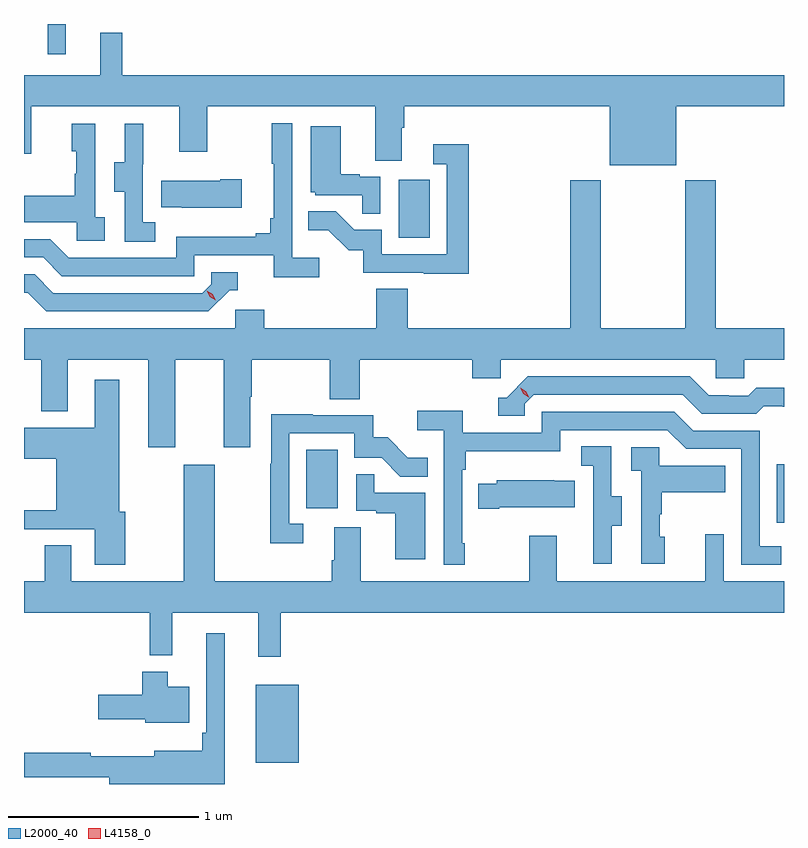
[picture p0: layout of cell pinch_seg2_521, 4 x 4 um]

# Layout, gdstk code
import gdstk
lib = gdstk.Library(unit=1e-6, precision=1e-09)
def R(c, l, rs):  # rectangles x0, y0, x1, y1
    for r in rs: c.add(gdstk.rectangle(r[:2], r[2:], *l))
def P(c, l, *ps):  # polygons
    for p in ps: c.add(gdstk.Polygon(p, *l))
L2000_40 = (2000, 40)
L4158_0 = (4158, 0)

pinch_seg2_521 = lib.new_cell('pinch_seg2_521')
R(pinch_seg2_521, L2000_40, [(952.043,597.563,952.27,597.973), (954.786,598.824,954.824,599.134), (952.31,598.902,952.474,599.209), (952.796,600.324,952.96,600.631), (950.948,601.29,951.045,601.45)])
P(pinch_seg2_521, L2000_40, [(951.341,601.405),(951.224,601.405),(951.224,601.18),(950.824,601.18),(950.824,600.768),(950.861,600.768),(950.861,601.016),(951.641,601.016),(951.641,600.777),(951.789,600.777),(951.789,601.016),(952.673,601.016),(952.673,600.73),(952.813,600.73),(952.813,600.904),(952.826,600.904),(952.826,601.016),(953.906,601.016),(953.906,600.707),(954.256,600.707),(954.256,601.016),(954.824,601.016),(954.824,601.18),(951.341,601.18)],
  [(952.378,600.22),(952.236,600.22),(952.236,600.928),(952.128,600.928),(952.128,600.715),(952.139,600.715),(952.139,600.427),(952.12,600.427),(952.12,600.35),(952.043,600.35),(952.043,600.331),(951.624,600.331),(951.624,600.219),(951.06,600.219),(950.961,600.318),(950.824,600.318),(950.824,600.222),(950.924,600.222),(951.023,600.123),(951.72,600.123),(951.72,600.234),(952.139,600.234),(952.139,600.118),(952.378,600.118)],
  [(951.25,600.434),(951.198,600.434),(951.198,600.925),(951.074,600.925),(951.074,600.78),(951.1,600.78),(951.1,600.662),(951.09,600.662),(951.09,600.547),(950.824,600.547),(950.824,600.407),(951.102,600.407),(951.102,600.309),(951.25,600.309)],
  [(951.514,600.407),(951.45,600.407),(951.45,600.711),(951.452,600.711),(951.452,600.925),(951.353,600.925),(951.353,600.723),(951.299,600.723),(951.299,600.568),(951.354,600.568),(951.354,600.304),(951.514,600.304)],
  [(952.698,600.645),(952.592,600.645),(952.592,600.658),(952.492,600.658),(952.492,600.913),(952.334,600.913),(952.334,600.564),(952.356,600.564),(952.356,600.549),(952.603,600.549),(952.603,600.451),(952.698,600.451)],
  [(953.165,600.817),(952.977,600.817),(952.977,600.711),(953.049,600.711),(953.049,600.237),(952.707,600.237),(952.707,600.366),(952.563,600.366),(952.465,600.464),(952.321,600.464),(952.321,600.365),(952.425,600.365),(952.532,600.258),(952.609,600.258),(952.609,600.141),(952.927,600.141),(952.927,600.136),(953.165,600.136)],
  [(951.97,600.633),(951.857,600.633),(951.857,600.625),(951.547,600.625),(951.547,600.485),(951.655,600.485),(951.655,600.482),(951.97,600.482)],
  [(952.844,600.056),(952.679,600.056),(952.679,599.848),(952.088,599.848),(952.088,599.946),(951.936,599.946),(951.936,599.848),(950.824,599.848),(950.824,599.684),(950.915,599.684),(950.915,599.411),(951.055,599.411),(951.055,599.684),(951.479,599.684),(951.479,599.223),(951.619,599.223),(951.619,599.684),(951.875,599.684),(951.875,599.223),(952.015,599.223),(952.015,599.488),(952.023,599.488),(952.023,599.684),(952.432,599.684),(952.432,599.476),(952.592,599.476),(952.592,599.684),(953.183,599.684),(953.183,599.586),(953.334,599.586),(953.334,599.684),(954.465,599.684),(954.465,599.586),(954.615,599.586),(954.615,599.684),(954.824,599.684),(954.824,599.848),(954.464,599.848),(954.464,600.628),(954.304,600.628),(954.304,599.848),(953.859,599.848),(953.859,600.628),(953.699,600.628),(953.699,599.848),(952.844,599.848)],
  [(951.906,600.048),(951.949,600.048),(951.949,600.144),(951.81,600.144),(951.81,600.081),(951.762,600.033),(950.979,600.033),(950.88,600.132),(950.824,600.132),(950.824,600.036),(950.843,600.036),(950.942,599.937),(951.795,599.937)],
  [(953.46,599.451),(953.508,599.499),(954.291,599.499),(954.39,599.4),(954.679,599.4),(954.718,599.439),(954.817,599.439),(954.817,599.436),(954.824,599.436),(954.824,599.536),(954.679,599.536),(954.637,599.493),(954.534,599.493),(954.534,599.496),(954.427,599.496),(954.328,599.595),(953.475,599.595),(953.364,599.484),(953.321,599.484),(953.321,599.388),(953.46,599.388)],
  [(951.357,598.884),(951.325,598.884),(951.325,599.578),(951.197,599.578),(951.197,599.326),(950.824,599.326),(950.824,599.162),(950.993,599.162),(950.993,598.892),(950.824,598.892),(950.824,598.791),(951.197,598.791),(951.197,598.605),(951.357,598.605)],
  [(953.143,598.717),(953.13,598.717),(953.13,599.105),(953.15,599.105),(953.15,599.201),(953.646,599.201),(953.646,599.313),(954.21,599.313),(954.309,599.214),(954.6,599.214),(954.6,598.605),(954.809,598.605),(954.809,598.701),(954.696,598.701),(954.696,599.31),(954.346,599.31),(954.247,599.409),(953.55,599.409),(953.55,599.298),(953.132,599.298),(953.132,599.414),(952.893,599.414),(952.893,599.312),(953.034,599.312),(953.034,598.605),(953.143,598.605)],
  [(952.294,598.821),(952.221,598.821),(952.221,599.295),(952.563,599.295),(952.563,599.166),(952.707,599.166),(952.805,599.068),(952.949,599.068),(952.949,599.167),(952.845,599.167),(952.738,599.274),(952.662,599.274),(952.662,599.391),(952.343,599.391),(952.343,599.396),(952.125,599.396),(952.125,599.135),(952.12,599.135),(952.12,598.716),(952.294,598.716)],
  [(953.917,598.81),(953.971,598.81),(953.971,598.965),(953.916,598.965),(953.916,599.228),(953.757,599.228),(953.757,599.125),(953.82,599.125),(953.82,598.821),(953.819,598.821),(953.819,598.608),(953.917,598.608)],
  [(954.196,598.752),(954.171,598.752),(954.171,598.871),(954.181,598.871),(954.181,598.985),(954.515,598.985),(954.515,599.125),(954.168,599.125),(954.168,599.223),(954.021,599.223),(954.021,599.099),(954.072,599.099),(954.072,598.608),(954.196,598.608)],
  [(952.175,598.352),(954.824,598.352),(954.824,598.516),(954.507,598.516),(954.507,598.765),(954.41,598.765),(954.41,598.516),(953.629,598.516),(953.629,598.756),(953.482,598.756),(953.482,598.516),(952.597,598.516),(952.597,598.802),(952.457,598.802),(952.457,598.628),(952.445,598.628),(952.445,598.516),(951.829,598.516),(951.829,599.131),(951.665,599.131),(951.665,598.516),(951.073,598.516),(951.073,598.706),(950.933,598.706),(950.933,598.516),(950.824,598.516),(950.824,598.352),(951.487,598.352),(951.487,598.127),(951.605,598.127),(951.605,598.352),(952.058,598.352),(952.058,598.119),(952.175,598.119)],
  [(952.936,598.983),(952.667,598.983),(952.667,599.081),(952.572,599.081),(952.572,598.887),(952.679,598.887),(952.679,598.875),(952.778,598.875),(952.778,598.632),(952.936,598.632)],
  [(953.326,598.907),(953.723,598.907),(953.723,599.047),(953.615,599.047),(953.615,599.05),(953.313,599.05),(953.313,599.029),(953.215,599.029),(953.215,598.9),(953.326,598.9)],
  [(951.88,598.243),(951.783,598.243),(951.783,597.721),(951.763,597.721),(951.763,597.625),(951.509,597.625),(951.509,597.596),(951.176,597.596),(951.176,597.614),(950.824,597.614),(950.824,597.486),(951.272,597.486),(951.272,597.45),(951.88,597.45)],
  [(951.694,597.961),(951.58,597.961),(951.58,598.042),(951.446,598.042),(951.446,597.921),(951.216,597.921),(951.216,597.791),(951.462,597.791),(951.462,597.773),(951.694,597.773)])
P(pinch_seg2_521, L4158_0, [(951.833,599.995),(951.802,600.014),(951.786,600.047),(951.786,600.047),(951.787,600.047),(951.817,600.028),(951.833,599.995),(951.833,599.995)],
  [(953.482,599.483),(953.451,599.503),(953.435,599.535),(953.435,599.536),(953.435,599.536),(953.466,599.516),(953.483,599.484),(953.483,599.483)])

lib.write_gds('pinch_seg2_521.gds')
